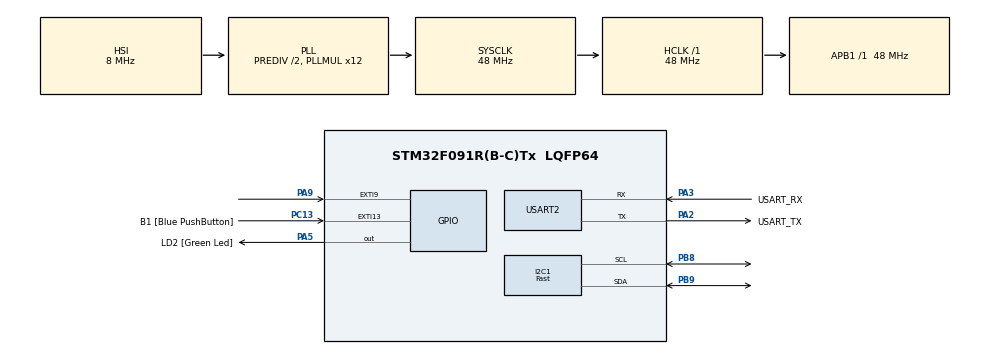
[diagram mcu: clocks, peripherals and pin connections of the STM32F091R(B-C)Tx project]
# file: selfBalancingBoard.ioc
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I2C1.I2C_Speed_Mode=I2C_Fast
I2C1.Timing=0x0000020B
IWDG.Prescaler=IWDG_PRESCALER_16
IWDG.Reload=2500
Mcu.Family=STM32F0
Mcu.Name=STM32F091R(B-C)Tx
Mcu.Package=LQFP64
NVIC.EXTI4_15_IRQn=true\:0\:0\:true\:false\:true\:true\:true\:true
PA13.GPIO_Label=TMS
PA13.Mode=Serial_Wire
PA13.Signal=SYS_SWDIO
PA14.GPIO_Label=TCK
PA14.Mode=Serial_Wire
PA14.Signal=SYS_SWCLK
PA2.GPIO_Label=USART_TX
PA2.GPIO_Mode=GPIO_MODE_AF_PP
PA2.GPIO_PuPd=GPIO_NOPULL
PA2.GPIO_Speed=GPIO_SPEED_FREQ_LOW
PA2.Mode=Asynchronous
PA2.Signal=USART2_TX
PA3.GPIO_Label=USART_RX
PA3.GPIO_Mode=GPIO_MODE_AF_PP
PA3.GPIO_PuPd=GPIO_NOPULL
PA3.GPIO_Speed=GPIO_SPEED_FREQ_LOW
PA3.Mode=Asynchronous
PA3.Signal=USART2_RX
PA5.GPIO_Label=LD2 [Green Led]
PA5.GPIO_Mode=GPIO_MODE_OUTPUT_PP
PA5.GPIO_PuPd=GPIO_NOPULL
PA5.GPIO_Speed=GPIO_SPEED_FREQ_LOW
PA5.Signal=GPIO_Output
PA9.GPIO_PuPd=GPIO_PULLDOWN
PA9.Signal=GPXTI9
PB8.Mode=I2C
PB8.Signal=I2C1_SCL
PB9.Mode=I2C
PB9.Signal=I2C1_SDA
PC13.GPIO_Label=B1 [Blue PushButton]
PC13.GPIO_ModeDefaultEXTI=GPIO_MODE_IT_FALLING
PC13.Signal=GPXTI13
PC14OSC32_IN.Mode=LSE-External-Oscillator
PC14OSC32_IN.Signal=RCC_OSC32_IN
PC15OSC32_OUT.Mode=LSE-External-Oscillator
PC15OSC32_OUT.Signal=RCC_OSC32_OUT
PF0-OSC_IN.Mode=HSE-External-Clock-Source
PF0-OSC_IN.Signal=RCC_OSC_IN
PF1-OSC_OUT.Signal=RCC_OSC_OUT
ProjectManager.HeapSize=0x200
ProjectManager.StackSize=0x400
ProjectManager.TargetToolchain=STM32CubeIDE
RCC.AHBFreq_Value=48000000
RCC.APB1Freq_Value=48000000
RCC.APB1TimFreq_Value=48000000
RCC.FLatency-AdvancedSettings=FLASH_LATENCY_1
RCC.HCLKFreq_Value=48000000
RCC.PLLDivider=RCC_PREDIV_DIV2
RCC.PLLMUL=RCC_PLL_MUL12
RCC.PREFETCH_ENABLE-AdvancedSettings=1
RCC.SYSCLKFreq_VALUE=48000000
RCC.SYSCLKSource=RCC_SYSCLKSOURCE_PLLCLK
USART2.VirtualMode=VM_ASYNC
USART2.VirtualMode-Asynchronous=VM_ASYNC
VP_IWDG_VS_IWDG.Mode=IWDG_Activate
board=NUCLEO-F091RC

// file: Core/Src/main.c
/* USER CODE BEGIN Header */
/**
 ******************************************************************************
 * @file           : main.c
 * @brief          : Main program body
 ******************************************************************************
 * @attention
 *
 * Copyright (c) 2023 STMicroelectronics.
 * All rights reserved.
 *
 * This software is licensed under terms that can be found in the LICENSE file
 * in the root directory of this software component.
 * If no LICENSE file comes with this software, it is provided AS-IS.
 *
 ******************************************************************************
 */
/* USER CODE END Header */
#include "main.h"
#include "i2c.h"
#include "iwdg.h"
#include "usart.h"
#include "gpio.h"

/* USER CODE BEGIN Includes */
#include "dmp_mpu6050.h"
/* USER CODE END Includes */

void SystemClock_Config(void);

/* USER CODE BEGIN 0 */

long cnt;
long quat[4];
long euler[3];
int8_t accuracy;
uint32_t last_print;
unsigned long timestamp;
uint8_t teapotPacket[14] = { '$', 0x02, 0, 0, 0, 0, 0, 0, 0, 0, 0x00, 0x00, '\r', '\n' };

#define PRINT_FRQ_MS 20
#define PRINT_EULER 0
#define PRINT_QUAT 1

/* USER CODE END 0 */

int main(void) {

	/* MCU Configuration--------------------------------------------------------*/

	/* Reset of all peripherals, Initializes the Flash interface and the Systick. */
	HAL_Init();

	/* Configure the system clock */
	SystemClock_Config();

	/* Initialize all configured peripherals */
	MX_GPIO_Init();
	MX_USART2_UART_Init();
	MX_I2C1_Init();
//	MX_IWDG_Init();
	/* USER CODE BEGIN 2 */

	while (MPU6050_Init()) {
		printf("failed, restarting the cpu... \n");
		NVIC_SystemReset();
	}

	MX_IWDG_Init();

	/* USER CODE END 2 */

	/* Infinite loop */
	while (1) {

		/* USER CODE BEGIN 3 */

		if (MPU6050_Go() == 1) {
			if (cnt++ % 10 == 0) {
				HAL_GPIO_TogglePin(LD2_GPIO_Port, LD2_Pin);
			}
			HAL_IWDG_Refresh(&hiwdg);
		}

		if (HAL_GetTick() - last_print > PRINT_FRQ_MS) {

			last_print = HAL_GetTick();

			if (PRINT_QUAT) {

				inv_get_sensor_type_quat(quat, &accuracy, &timestamp);

				quat[0] = quat[0] >> 16;
				quat[1] = quat[1] >> 16;
				quat[2] = quat[2] >> 16;
				quat[3] = quat[3] >> 16;
				teapotPacket[2] = (quat[0] >> 8) & 0xffff;
				teapotPacket[3] = (quat[0] >> 0) & 0xffff;
				teapotPacket[4] = (quat[1] >> 8) & 0xffff;
				teapotPacket[5] = (quat[1] >> 0) & 0xffff;
				teapotPacket[6] = (quat[2] >> 8) & 0xffff;
				teapotPacket[7] = (quat[2] >> 0) & 0xffff;
				teapotPacket[8] = (quat[3] >> 8) & 0xffff;
				teapotPacket[9] = (quat[3] >> 0) & 0xffff;

				teapotPacket[11] = 0;

			}

			if(PRINT_EULER){

				inv_get_sensor_type_euler(euler, &accuracy, &timestamp);

				teapotPacket[2] = (euler[0] >> 24) & 0xffff;;
				teapotPacket[3] = (euler[0] >> 16) & 0xffff;;
				teapotPacket[4] = (euler[0] >> 8) & 0xffff;

				teapotPacket[5] = (euler[1] >> 24) & 0xffff;
				teapotPacket[6] = (euler[1] >> 16) & 0xffff;
				teapotPacket[7] = (euler[1] >> 8) & 0xffff;

				teapotPacket[8] = (euler[2] >> 24) & 0xffff;
				teapotPacket[9] = (euler[2] >> 16) & 0xffff;
				teapotPacket[10] = (euler[2] >> 8) & 0xffff;

				teapotPacket[11] = 1;
			}

			HAL_UART_Transmit(&huart2, teapotPacket, sizeof(teapotPacket), 1000);
		}
	}
	/* USER CODE END 3 */
}

void SystemClock_Config(void) {

	RCC_OscInitTypeDef RCC_OscInitStruct = { 0 };
	RCC_ClkInitTypeDef RCC_ClkInitStruct = { 0 };
	RCC_PeriphCLKInitTypeDef PeriphClkInit = { 0 };

	/** Initializes the RCC Oscillators according to the specified parameters
	 * in the RCC_OscInitTypeDef structure.
	 */
	RCC_OscInitStruct.OscillatorType = RCC_OSCILLATORTYPE_HSI | RCC_OSCILLATORTYPE_LSI;
	RCC_OscInitStruct.HSIState = RCC_HSI_ON;
	RCC_OscInitStruct.HSICalibrationValue = RCC_HSICALIBRATION_DEFAULT;
	RCC_OscInitStruct.LSIState = RCC_LSI_ON;
	RCC_OscInitStruct.PLL.PLLState = RCC_PLL_ON;
	RCC_OscInitStruct.PLL.PLLSource = RCC_PLLSOURCE_HSI;
	RCC_OscInitStruct.PLL.PLLMUL = RCC_PLL_MUL12;
	RCC_OscInitStruct.PLL.PREDIV = RCC_PREDIV_DIV2;
	if (HAL_RCC_OscConfig(&RCC_OscInitStruct) != HAL_OK) {
		Error_Handler();
	}

	/** Initializes the CPU, AHB and APB buses clocks
	 */
	RCC_ClkInitStruct.ClockType = RCC_CLOCKTYPE_HCLK | RCC_CLOCKTYPE_SYSCLK | RCC_CLOCKTYPE_PCLK1;
	RCC_ClkInitStruct.SYSCLKSource = RCC_SYSCLKSOURCE_PLLCLK;
	RCC_ClkInitStruct.AHBCLKDivider = RCC_SYSCLK_DIV1;
	RCC_ClkInitStruct.APB1CLKDivider = RCC_HCLK_DIV1;

	if (HAL_RCC_ClockConfig(&RCC_ClkInitStruct, FLASH_LATENCY_1) != HAL_OK) {
		Error_Handler();
	}
	PeriphClkInit.PeriphClockSelection = RCC_PERIPHCLK_USART2 | RCC_PERIPHCLK_I2C1;
	PeriphClkInit.Usart2ClockSelection = RCC_USART2CLKSOURCE_PCLK1;
	PeriphClkInit.I2c1ClockSelection = RCC_I2C1CLKSOURCE_HSI;
	if (HAL_RCCEx_PeriphCLKConfig(&PeriphClkInit) != HAL_OK) {
		Error_Handler();
	}
}

void Error_Handler(void) {
	__disable_irq();
	while (1) {
	}
}
